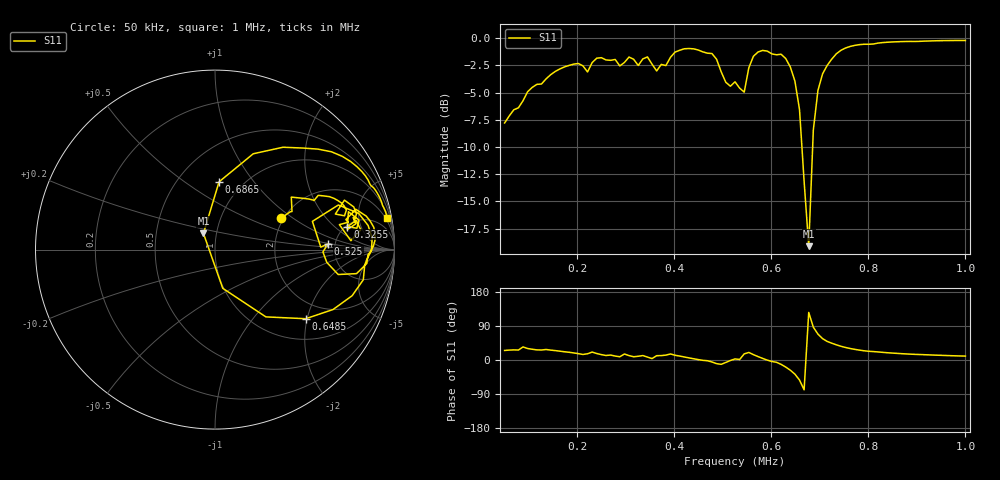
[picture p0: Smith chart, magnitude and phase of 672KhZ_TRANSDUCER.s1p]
# HZ S RI R 50
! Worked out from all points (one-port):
!   101 points, 50 kHz to 1 MHz, reference 50 ohm
!   lowest |S11| = -19.1 dB at 677 kHz (marker M1), VSWR 1.25, Z = 43.3 + j7.9 ohm
!   |S11| at or under -10 dB: 663 kHz to 685.1 kHz (22.15 kHz wide, 3.29 % of centre)
!   S11 on the Smith chart (normalised r, x): 50 kHz: 1.95, +0.81; 325.5 kHz: 5.16, +3.01; 525 kHz: 4.35, +0.46; 648.5 kHz: 1.52, -1.96; 686.5 kHz: 0.78, +0.69; 1 MHz: 1, +11
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50000  0.3689 0.1735
88000  0.4251 0.2924
173500  0.6851 0.273
211500  0.7216 0.1883
230500  0.7211 0.2756
287500  0.7369 0.1112
297000  0.7434 0.211
325500  0.7379 0.1278
344500  0.8121 0.1105
363500  0.6929 0.1391
411000  0.8649 0.1585
487000  0.7885 -0.1338
506000  0.6228 -0.0711
525000  0.6291 0.0319
534500  0.5894 0.0137
544000  0.5426 0.1573
553500  0.6873 0.2486
582000  0.8755 0.0646
620000  0.8263 -0.168
648500  0.5051 -0.385
658000  0.2835 -0.3749
677000  -0.0643 0.0902
686500  0.0228 0.3779
696000  0.2132 0.534
715000  0.491 0.5657
762500  0.7906 0.4622
886000  0.9306 0.2574
1000000  0.9597 0.1749
